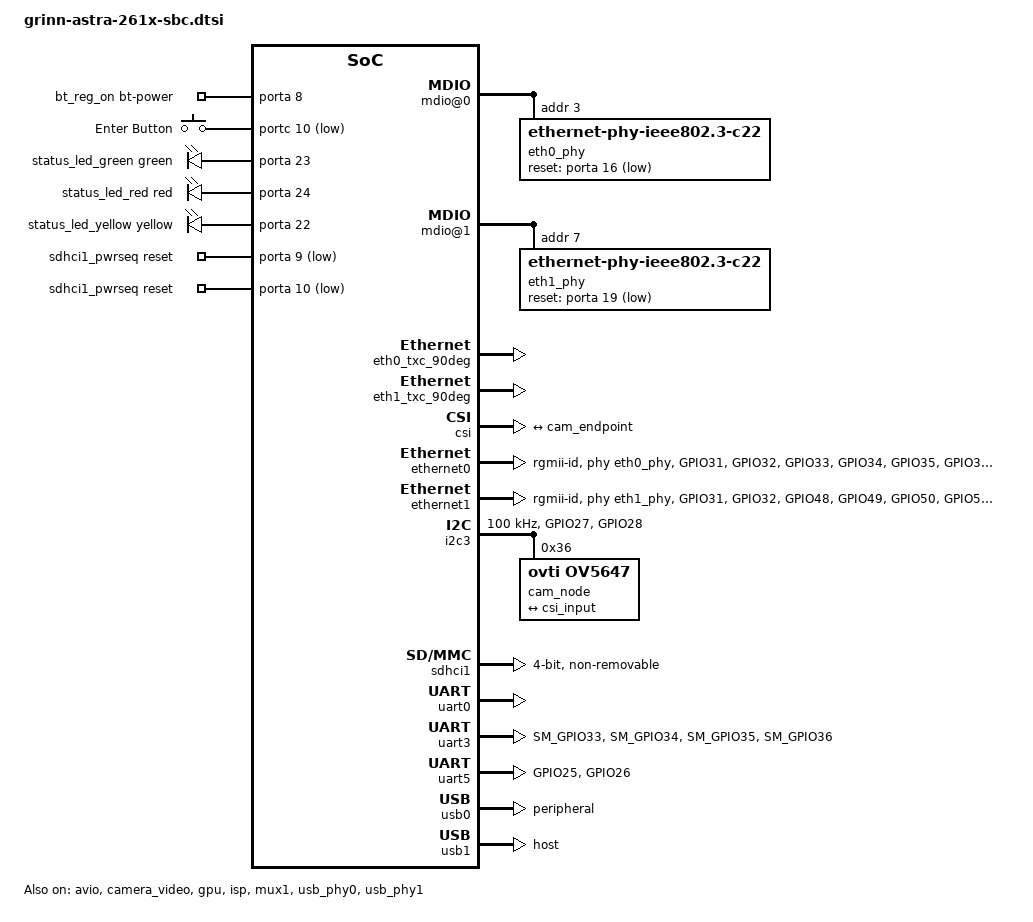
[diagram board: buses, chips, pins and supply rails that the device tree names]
#include <dt-bindings/gpio/gpio.h>
#include <dt-bindings/input/input.h>
#include <dt-bindings/leds/common.h>

/ {
	aliases {
		ethernet0 = &ethernet0;
		ethernet1 = &ethernet1;
	};

	chosen {
		stdout-path = "serial0:115200n8";
	};

	bt_reg_on: bt-reg-on {
		compatible = "syna,rfkill";
		status = "okay";
		bt-power-gpio = <&porta 8 GPIO_ACTIVE_HIGH>;
		pinctrl-0 = <&bt_disable_pmux>;
		pinctrl-names = "default";
	};

	keys {
		compatible = "gpio-keys-polled";
		status = "okay";
		poll-interval = <50>;
		pinctrl-0 = <&user_button_pmux>;
		pinctrl-names = "default";

		user_button: user-button {
			label = "Enter Button";
			linux,code = <KEY_ENTER>;
			gpios = <&portc 10 GPIO_ACTIVE_LOW>;
			debounce-interval = <50>;
		};
	};

	leds {
		compatible = "gpio-leds";
		status = "okay";
		pinctrl-0 = <&led_green_pmux>, <&led_red_pmux>, <&led_yellow_pmux>;
		pinctrl-names = "default";

		status_led_green: status-led-green {
			gpios = <&porta 23 GPIO_ACTIVE_HIGH>;
			color = <LED_COLOR_ID_GREEN>;
			function = LED_FUNCTION_DISK_ACTIVITY;
			linux,default-trigger = "mmc0";
			default-state = "off";
		};

		status_led_red: status-led-red {
			gpios = <&porta 24 GPIO_ACTIVE_HIGH>;
			color = <LED_COLOR_ID_RED>;
			function = LED_FUNCTION_POWER;
			linux,default-trigger = "default-on";
			default-state = "off";
		};

		status_led_yellow: status-led-yellow {
			gpios = <&porta 22 GPIO_ACTIVE_HIGH>;
			color = <LED_COLOR_ID_YELLOW>;
			function = LED_FUNCTION_HEARTBEAT;
			linux,default-trigger = "heartbeat";
			default-state = "off";
		};
	};

	mdio-demux {
		compatible = "mdio-demux";
		mux-controls = <&mux1 0>;
		mdio-parent-bus = <&mdio0>, <&mdio1>;
		#address-cells = <1>;
		#size-cells = <0>;

		mdio@0 {
			reg = <0x0>;
			#address-cells = <1>;
			#size-cells = <0>;

			eth0_phy: ethernet-phy@3 {
				compatible = "ethernet-phy-ieee802.3-c22";
				reg = <3>;
				pinctrl-0 = <&eth0_phy_rst_pmux>, <&eth0_phy_int_pmux>;
				pinctrl-names = "default";
				rxc-skew-ps = <1500>;
				rxdv-skew-ps = <420>;
				rxd0-skew-ps = <420>;
				rxd1-skew-ps = <420>;
				rxd2-skew-ps = <420>;
				rxd3-skew-ps = <420>;
				txc-skew-ps = <900>;
				txen-skew-ps = <420>;
				txd0-skew-ps = <420>;
				txd1-skew-ps = <420>;
				txd2-skew-ps = <420>;
				txd3-skew-ps = <420>;
				reset-assert-us = <20000>;
				reset-deassert-us = <100000>;
				reset-gpios = <&porta 16 GPIO_ACTIVE_LOW>;
			};
		};

		mdio@1 {
			reg = <0x1>;
			#address-cells = <1>;
			#size-cells = <0>;

			eth1_phy: ethernet-phy@7 {
				compatible = "ethernet-phy-ieee802.3-c22";
				reg = <7>;
				pinctrl-0 = <&eth1_phy_rst_pmux>, <&eth1_phy_int_pmux>;
				pinctrl-names = "default";
				rxc-skew-ps = <1500>;
				rxdv-skew-ps = <420>;
				rxd0-skew-ps = <420>;
				rxd1-skew-ps = <420>;
				rxd2-skew-ps = <420>;
				rxd3-skew-ps = <420>;
				txc-skew-ps = <900>;
				txen-skew-ps = <420>;
				txd0-skew-ps = <420>;
				txd1-skew-ps = <420>;
				txd2-skew-ps = <420>;
				txd3-skew-ps = <420>;
				reset-assert-us = <20000>;
				reset-deassert-us = <100000>;
				reset-gpios = <&porta 19 GPIO_ACTIVE_LOW>;
			};
		};
	};

	sdhci1_pwrseq: sdhci1-pwrseq {
		compatible = "mmc-pwrseq-simple";
		reset-gpios = <&porta 9 GPIO_ACTIVE_LOW>, <&porta 10 GPIO_ACTIVE_LOW>;
		post-power-on-delay-ms = <50>;
		pinctrl-0 = <&wf_disable_pmux>, <&sdio_reset_pmux>;
		pinctrl-names = "default";
	};

	soc {
		eth0_txc_90deg: syscon@f7e10a18 {
			compatible = "syscon";
			reg = <0xf7e10a18 0x4>;
		};

		eth1_txc_90deg: syscon@f7e10a3c {
			compatible = "syscon";
			reg = <0xf7e10a3c 0x4>;
		};
	};
};

&avio {
	status = "okay";
};

&camera_video {
	status = "okay";
};

&csi {
	status = "okay";

	ports {
		port@0 {
			csi_input: endpoint@0 {
				remote-endpoint = <&cam_endpoint>;
			};
		};
	};
};

&ethernet0 {
	status = "okay";
	pinctrl-0 = <&eth_mdio_pmux>, <&eth0_pmux>;
	pinctrl-names = "default";
	phy-handle = <&eth0_phy>;
	phy-mode = "rgmii-id";
	syna,txc-90deg = <&eth0_txc_90deg>;

	mdio0: mdio {
		compatible = "snps,dwmac-mdio";
		#address-cells = <1>;
		#size-cells = <0>;
	};
};

&ethernet1 {
	status = "okay";
	pinctrl-0 = <&eth_mdio_pmux>, <&eth1_pmux>;
	pinctrl-names = "default";
	phy-handle = <&eth1_phy>;
	phy-mode = "rgmii-id";
	syna,txc-90deg = <&eth1_txc_90deg>;

	mdio1: mdio {
		compatible = "snps,dwmac-mdio";
		#address-cells = <1>;
		#size-cells = <0>;
	};
};

&gpu {
	status = "okay";
};

&i2c3 {
	status = "okay";
	pinctrl-names = "default";
	pinctrl-0 = <&i2c3_pmux>;
	clock-frequency = <100000>;

	cam_node: ov5647@36 {
		compatible = "ovti,ov5647";
		reg = <0x36>;
		status = "okay";

		clocks = <&osc>;

		rotation = <0>;
		orientation = <2>;

		port {
			cam_endpoint: endpoint {
				clock-lanes = <0>;
				data-lanes = <1 2>;
				clock-noncontinuous;
				remote-endpoint = <&csi_input>;
			};
		};
	};
};

&isp {
	status = "okay";
};

&mux1 {
	status = "okay";
};

&pdma0 {
	status = "okay";
};

&pdma1 {
	status = "okay";
};

&pinctrl {
	bt_disable_pmux: bt-disable-pmux {
		groups = "GPIO8";
		function = "gpio";
	};

	cam_gpio0_pmux: cam-gpio0-pmux {
		groups = "GPIO5";
		function = "gpio";
	};

	cam_gpio1_pmux: cam-gpio1-pmux {
		groups = "GPIO6";
		function = "gpio";
	};

	eth_mdio_pmux: eth-mdio-pmux {
		groups = "GPIO31", "GPIO32";
		function = "rgmii";
		drive-strength = <7>;
	};

	eth0_phy_int_pmux: eth0-phy-int-pmux {
		groups = "GPIO17";
		function = "gpio";
	};

	eth0_phy_rst_pmux: eth0-phy-rst-pmux {
		groups = "GPIO16";
		function = "gpio";
	};

	eth0_pmux: eth0-pmux {
		groups = "GPIO33", "GPIO34", "GPIO35", "GPIO36", "GPIO37", "GPIO38", "GPIO39", "GPIO40", "GPIO41", "GPIO42", "GPIO43", "GPIO44";
		function = "rgmii1";
		drive-strength = <7>;
	};

	eth1_phy_int_pmux: eth1-phy-int-pmux {
		groups = "GPIO18";
		function = "gpio";
	};

	eth1_phy_rst_pmux: eth1-phy-rst-pmux {
		groups = "GPIO19";
		function = "gpio";
	};

	eth1_pmux: eth1-pmux {
		groups = "GPIO48", "GPIO49", "GPIO50", "GPIO51", "GPIO52", "GPIO53", "GPIO54", "GPIO55", "GPIO56", "GPIO57", "GPIO58", "GPIO59";
		function = "rgmii2";
		drive-strength = <7>;
	};

	i2c3_pmux: i2c3-pmux {
		groups = "GPIO27", "GPIO28";
		function = "tw3";
		drive-strength = <8>;
	};

	led_green_pmux: led-green-pmux {
		groups = "GPIO23";
		function = "gpio";
	};

	led_red_pmux: led-red-pmux {
		groups = "GPIO24";
		function = "gpio";
	};

	led_yellow_pmux: led-yellow-pmux {
		groups = "GPIO22";
		function = "gpio";
	};

	optiga_rstn_pmux: optiga-rstn-pmux {
		groups = "GPIO45";
		function = "gpio";
	};

	rpi_porta_pmux: rpi-porta-pmux {
		groups = "GPIO0", "GPIO1", "GPIO2", "GPIO3", "GPIO4",
			 "GPIO12", "GPIO13", "GPIO14", "GPIO15",
			 "GPIO29", "GPIO30";
		function = "gpio";
	};

	sdio_reset_pmux: sdio-reset-pmux {
		groups = "GPIO10";
		function = "gpio";
	};

	uart5_pmux: uart5-pmux {
		groups = "GPIO25", "GPIO26";
		function = "uart5";
		drive-strength = <7>;
	};

	wf_disable_pmux: wf-disable-pmux {
		groups = "GPIO9";
		function = "gpio";
	};
};

&porta {
	pinctrl-0 = <&cam_gpio0_pmux>, <&cam_gpio1_pmux>, <&rpi_porta_pmux>;
	pinctrl-names = "default";

	gpio-line-names =
		"RPi_GPIO_8", "RPi_GPIO_11", "RPi_GPIO_10", "RPi_GPIO_7", "RPi_GPIO_9", "CAM_GPIO0", "CAM_GPIO1", "UART_WAKEn",
		"BT_DISABLEn", "WF_DISABLEn", "SDIO_RESETn", "SDIO_WAKEn", "RPi_GPIO_19", "RPi_GPIO_18", "RPi_GPIO_21", "RPi_GPIO_20",
		"ETH1_RSTn", "ETH1_INTn", "ETH2_INTn", "ETH2_RSTn", "SS1", "", "LED_YELLOW", "LED_GREEN",
		"LED_RED", "RPi_UART5_RXD", "RPi_UART5_TXD", "MIPI_SCL", "MIPI_SDA", "RPi_GPIO_27", "RPi_GPIO_17", "";
};

&portb {
	pinctrl-0 = <&optiga_rstn_pmux>;
	pinctrl-names = "default";

	gpio-line-names =
		"", "", "", "", "", "", "", "",
		"", "", "", "", "", "Optiga_RSTn", "", "",
		"", "", "", "", "", "", "", "",
		"", "", "", "", "", "", "", "";
};

&portc {
	pinctrl-0 = <&rpi_portc_pmux>;
	pinctrl-names = "default";

	gpio-line-names =
		"SM_TMS", "SM_TDI", "SM_TDO", "OPTIGA_SCL", "OPTIGA_SDA", "VCORE_ONn", "DISPLAY_GPIO0", "DEBUG_RXD",
		"DEBUG_TXD", "BOOTn", "USER_BUTTON", "", "RPi_GPIO_3", "RPi_GPIO_2", "CAN0_RX", "CAN0_TX";
};

&porte {
	pinctrl-0 = <&rpi_porte_pmux>;
	pinctrl-names = "default";

	gpio-line-names =
		"RPi_GPIO_6", "RPi_GPIO_16", "RPi_GPIO_26", "RPi_GPIO_22", "RPi_GPIO_25", "RPi_GPIO_5", "RPi_GPIO_4", "RPi_GPIO_23";
};

&portf {
	pinctrl-0 = <&rpi_portf_pmux>;
	pinctrl-names = "default";

	gpio-line-names =
		"RPi_GPIO_24", "M2E_RTSn", "M2E_CTSn", "M2E_TXD", "M2E_RXD", "RPi_GPIO_12", "RPi_GPIO_13", "";
};

&sdhci1 {
	status = "okay";
	bus-width = <4>;
	sdclkdl-dc = /bits/ 8 <50>;
	pad-sp = /bits/ 8 <12>;
	pad-sn = /bits/ 8 <12>;
	no-sd;
	no-mmc;
	non-removable;
	mmc-pwrseq = <&sdhci1_pwrseq>;
	mode1-tune;
	keep-power-in-suspend;
};

&sm_pinctrl {
	m2e_uart3_pmux: m2e-uart3-pmux {
		groups = "SM_GPIO33", "SM_GPIO34", "SM_GPIO35", "SM_GPIO36";
		function = "uart3";
		drive-strength = <7>;
	};

	rpi_portc_pmux: rpi-portc-pmux {
		groups = "SM_GPIO12", "SM_GPIO13";
		function = "gpio";
	};

	rpi_porte_pmux: rpi-porte-pmux {
		groups = "SM_GPIO24", "SM_GPIO25", "SM_GPIO26", "SM_GPIO27",
			 "SM_GPIO28", "SM_GPIO29", "SM_GPIO30", "SM_GPIO31";
		function = "gpio";
	};

	rpi_portf_pmux: rpi-portf-pmux {
		groups = "SM_GPIO32", "SM_GPIO37", "SM_GPIO38";
		function = "gpio";
	};

	user_button_pmux: user-button-pmux {
		groups = "SM_GPIO10";
		function = "gpio";
	};
};

&uart0 {
	status = "okay";
};

&uart3 {
	status = "okay";
	pinctrl-0 = <&m2e_uart3_pmux>;
	pinctrl-names = "default";
	/delete-property/ dmas;
	/delete-property/ dma-names;
};

&uart5 {
	status = "okay";
	pinctrl-names = "default";
	pinctrl-0 = <&uart5_pmux>;
};

&usb0 {
	status = "okay";
	dr_mode = "peripheral";
};

&usb1 {
	status = "okay";
	dr_mode = "host";
};

&usb_phy0 {
	status = "okay";
};

&usb_phy1 {
	status = "okay";
};
